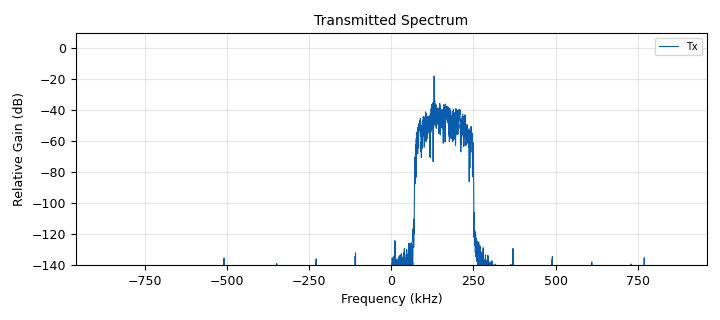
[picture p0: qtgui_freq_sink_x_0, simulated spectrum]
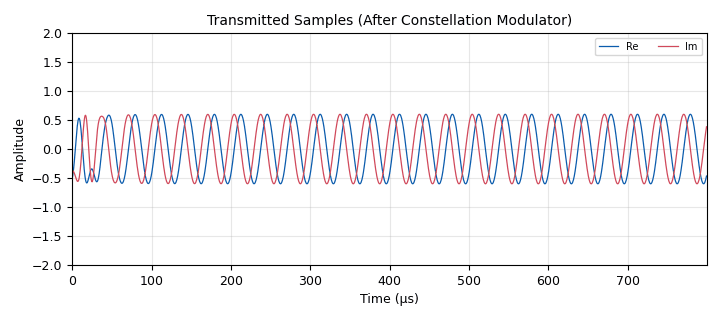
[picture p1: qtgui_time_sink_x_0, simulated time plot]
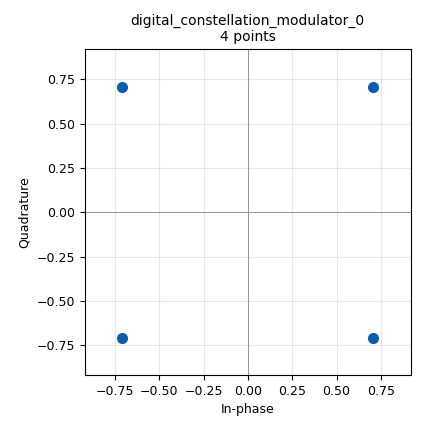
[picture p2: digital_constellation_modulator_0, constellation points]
options:
  parameters:
    generate_options: qt_gui
    id: console_message_transmitter_jupiter
    output_language: python
    title: console_message_transmitter_jupiter
  states: {}

blocks:
- name: alpha
  id: variable
  parameters:
    comment: |-
      Can't change alpha in real time
      for Consteallation Modulator
    value: '0.50'
  states: {}
- name: buff_size
  id: variable
  parameters:
    value: int(32768)
  states: {}
- name: center_freq
  id: variable
  parameters:
    value: '3200000000'
  states: {}
- name: constellation
  id: variable_constellation
  parameters:
    const_points: '[-1-1j, -1+1j, 1+1j, 1-1j]'
    dims: '1'
    normalization: digital.constellation.AMPLITUDE_NORMALIZATION
    precision: '8'
    rot_sym: '4'
    sym_map: '[0, 1, 2, 3]'
    type: calcdist
  states: {}
- name: gain_control_mode_rx0
  id: variable
  parameters:
    value: '''spi'''
  states: {state: disabled}
- name: hardwaregain_rx0
  id: variable_qtgui_range
  parameters:
    gui_hint: (5,1,1,1)
    label: Rx Gain [dBfs]
    outputmsgname: value
    showports: 'False'
    start: '0'
    step: '1'
    stop: '34'
    value: '20'
  states: {state: disabled}
- name: hardwaregain_tx0
  id: variable_qtgui_range
  parameters:
    gui_hint: (5,0,1,1)
    label: Tx Attenuation [dBfs]
    outputmsgname: value
    showports: 'False'
    start: '-41'
    step: '1'
    stop: '0'
    value: '0'
  states: {}
- name: interval_update
  id: variable
  parameters:
    value: int(0)
  states: {}
- name: jupiter_ip
  id: variable_config
  parameters:
    config_file: default
    option: key
    section: main
    type: string
    value: ip:jupiter.local
    writeback: None
  states: {}
- name: message_sent
  id: variable
  parameters:
    value: str("ANALOG DEVICES INC FTC2024")
  states: {}
- name: msg_rx
  id: variable_qtgui_entry
  parameters:
    gui_hint: 0,0
    type: raw
    value: '0'
  states: {state: disabled}
- name: nfilts
  id: variable
  parameters:
    value: '32'
  states: {state: disabled}
- name: offset_rx
  id: variable
  parameters:
    value: '-150000'
  states: {state: disabled}
- name: offset_tx
  id: variable
  parameters:
    value: int(160000)
  states: {}
- name: rcc_taps
  id: variable_rrc_filter_taps
  parameters:
    alpha: alpha
    gain: nfilts
    ntaps: 11*sps*nfilts
    samp_rate: nfilts*samp_rate
    sym_rate: samp_rate/sps
  states: {state: disabled}
- name: rx_lo_freq
  id: variable
  parameters:
    value: int(center_freq)
  states: {state: disabled}
- name: samp_rate
  id: variable
  parameters:
    value: '1920000'
  states: {}
- name: sps
  id: variable
  parameters:
    value: '16'
  states: {}
- name: tx_lo_freq
  id: variable
  parameters:
    value: int(center_freq)
  states: {}
- name: analog_agc_xx_0
  id: analog_agc_xx
  parameters:
    gain: '1.0'
    max_gain: '65536'
    rate: '1e-4'
    reference: '1.0'
    type: complex
  states: {state: disabled}
- name: analog_sig_source_x_0_0
  id: analog_sig_source_x
  parameters:
    amp: '1'
    freq: offset_tx
    offset: '0'
    phase: '0'
    samp_rate: samp_rate
    type: complex
    waveform: analog.GR_COS_WAVE
  states: {}
- name: analog_sig_source_x_0_0_0
  id: analog_sig_source_x
  parameters:
    amp: '1'
    freq: offset_rx
    offset: '0'
    phase: '0'
    samp_rate: samp_rate
    type: complex
    waveform: analog.GR_COS_WAVE
  states: {state: disabled}
- name: blocks_complex_to_imag_0_4_0
  id: blocks_complex_to_imag
  parameters: {}
  states: {}
- name: blocks_complex_to_real_0_4_0
  id: blocks_complex_to_real
  parameters: {}
  states: {}
- name: blocks_float_to_complex_0
  id: blocks_float_to_complex
  parameters: {}
  states: {state: disabled}
- name: blocks_float_to_short_0_0_4_0
  id: blocks_float_to_short
  parameters:
    scale: '32768'
  states: {}
- name: blocks_float_to_short_0_5_0
  id: blocks_float_to_short
  parameters:
    scale: '32768'
  states: {}
- name: blocks_message_strobe_0_0
  id: blocks_message_strobe
  parameters:
    msg: pmt.cons(pmt.PMT_NIL, pmt.init_u8vector(len(message_sent), list(message_sent.encode())))
    period: '1'
  states: {}
- name: blocks_msgpair_to_var_0
  id: blocks_msgpair_to_var
  parameters:
    alias: msg_var
    target: msg_rx
  states: {state: disabled}
- name: blocks_multiply_const_vxx_0
  id: blocks_multiply_const_vxx
  parameters:
    const: '0.6'
    type: complex
  states: {}
- name: blocks_multiply_xx_0_0
  id: blocks_multiply_xx
  parameters:
    type: complex
  states: {}
- name: blocks_multiply_xx_0_0_0
  id: blocks_multiply_xx
  parameters:
    type: complex
  states: {state: disabled}
- name: blocks_null_sink_0
  id: blocks_null_sink
  parameters:
    type: float
  states: {state: disabled}
- name: blocks_null_sink_0_0
  id: blocks_null_sink
  parameters:
    type: float
  states: {state: disabled}
- name: blocks_null_sink_0_0_0
  id: blocks_null_sink
  parameters:
    type: float
  states: {state: disabled}
- name: blocks_repack_bits_bb_1
  id: blocks_repack_bits_bb
  parameters:
    endianness: gr.GR_MSB_FIRST
    k: '1'
    l: '8'
    len_tag_key: '"packet_len"'
  states: {state: disabled}
- name: blocks_short_to_float_0
  id: blocks_short_to_float
  parameters:
    scale: '32768'
  states: {state: disabled}
- name: blocks_short_to_float_0_1
  id: blocks_short_to_float
  parameters:
    scale: '32768'
  states: {state: disabled}
- name: blocks_skiphead_0
  id: blocks_skiphead
  parameters:
    comment: |-
      Skip one second of samples
      to allow AGC and FLL to lock
    num_items: int(samp_rate)
    type: complex
  states: {state: disabled}
- name: blocks_unpack_k_bits_bb_0
  id: blocks_unpack_k_bits_bb
  parameters:
    k: constellation.bits_per_symbol()
  states: {state: disabled}
- name: digital_constellation_modulator_0
  id: digital_constellation_modulator
  parameters:
    constellation: constellation
    differential: 'True'
    excess_bw: alpha
    samples_per_symbol: sps
  states: {}
- name: digital_constellation_receiver_cb_0
  id: digital_constellation_receiver_cb
  parameters:
    comment: |-
      Input comes from Symbol Sync
      Includes a Costas Loop to do phase sync
    constellation: constellation
    fmax: math.pi
    fmin: '-math.pi'
    loop_bw: 2*math.pi/100
  states: {state: disabled}
- name: digital_correlate_access_code_xx_ts_0
  id: digital_correlate_access_code_xx_ts
  parameters:
    access_code: '"11100001010110101110100010010011"'
    tagname: packet_len
    threshold: '1'
    type: byte
  states: {state: disabled}
- name: digital_crc32_async_bb_0_0
  id: digital_crc32_async_bb
  parameters:
    check: 'True'
  states: {state: disabled}
- name: digital_crc32_async_bb_1
  id: digital_crc32_async_bb
  parameters:
    check: 'False'
  states: {}
- name: digital_diff_decoder_bb_0
  id: digital_diff_decoder_bb
  parameters:
    coding: digital.DIFF_DIFFERENTIAL
    modulus: constellation.arity()
  states: {state: disabled}
- name: digital_fll_band_edge_cc_0
  id: digital_fll_band_edge_cc
  parameters:
    filter_size: sps*2+1
    rolloff: alpha
    samps_per_sym: sps
    type: cc
    w: 2*math.pi/sps/100/sps
  states: {state: disabled}
- name: digital_symbol_sync_xx_0
  id: digital_symbol_sync_xx
  parameters:
    constellation: constellation
    damping: '1.0'
    loop_bw: '0.045'
    max_dev: '.1'
    nfilters: nfilts
    osps: '1'
    pfb_mf_taps: rcc_taps
    resamp_type: digital.IR_PFB_MF
    sps: sps
    ted_gain: '1.0'
    ted_type: digital.TED_SIGNAL_TIMES_SLOPE_ML
    type: cc
  states: {state: disabled}
- name: epy_block_0
  id: epy_block
  parameters:
    _source_code: "\"\"\"\nEmbedded Python Block\n\"\"\"\n\nimport numpy as np\nfrom gnuradio import gr\nimport pmt\n\nclass blk(gr.sync_block):\n    \"\"\"Packet Format\"\"\"\n\n    def __init__(self):\n        gr.sync_block.__init__(self,\n            name = \"Packet Format\",\n            in_sig = None,\n            out_sig = None)\n        self.message_port_register_in(pmt.intern('PDU_in'))                \t\t\t\t\n        self.message_port_register_in(pmt.intern('msg_count'))\n        self.message_port_register_out(pmt.intern('PDU_out'))\n        self.message_port_register_out(pmt.intern('msg_count'))\n        self.set_msg_handler(pmt.intern('PDU_in'), self.handle_msg)\n        self.set_msg_handler(pmt.intern('msg_count'), self.handle_msg_count)\n        self.message_counter=0\n        \n    def get_messageCounter(self):\n        return self.message_counter\n\n    def handle_msg_count(self, msg):\n        self.message_counter=pmt.to_python(msg)[1]\n\n    def handle_msg(self, msg):\n        inMsg = pmt.to_python (msg)\n        pld = inMsg[1]\n        # print (pld)\n        mLen = len(pld)\n        # print (mLen)\n        if (mLen > 0) and (self.message_counter <= 10):\n            char_list = [85,85,85,85,85,85,85,85,85,85,85,85,85,85,85,85,85,85,85,85,85,85,85,85,85,85,85,85,85,85,85,85,225,90,232,147]\n            char_list.append (mLen >> 8)\n            char_list.append (mLen & 255)\n            char_list.append (mLen >> 8)\n            char_list.append (mLen & 255)\n            char_list.extend (pld)\n            # print (char_list)\n            out_len = len(char_list)\n            # print (out_len)\n            self.message_port_pub(pmt.intern('PDU_out'), pmt.cons(pmt.PMT_NIL,pmt.init_u8vector(out_len,(char_list))))\n            self.message_counter+=1\n            self.message_port_pub(pmt.intern('msg_count'), pmt.cons(pmt.PMT_NIL,pmt.from_long(self.message_counter)))\n\n    def work(self, input_items, output_items):\n        #self.message_counter-=1\n        #self.message_port_pub(pmt.intern('msg_count'), pmt.cons(pmt.PMT_NIL,pmt.from_long(self.message_counter)))\n        #output_items[0][:] = input_items[0]\n        return 1#len(output_items[0])\n            \n            \n"
  states: {}
- name: epy_block_0_0
  id: epy_block
  parameters:
    _source_code: "\"\"\"\nEmbedded Python Blocks:\n\nEach time this file is saved, GRC will instantiate the first class it finds\nto get ports and parameters of your block. The arguments to __init__  will\nbe the parameters. All of them are required to have default values!\n\"\"\"\n\nimport numpy as np\nfrom gnuradio import gr\n\ndataBuf = []\n\nclass blk(gr.sync_block):  # other base classes are basic_block, decim_block, interp_block\n    def __init__(self):  # only default arguments here\n        \"\"\"arguments to this function show up as parameters in GRC\"\"\"\n        gr.sync_block.__init__(\n            self,\n            name='ASCII Conversion Python Block',   # will show up in GRC\n            in_sig=None,\n            out_sig=None\n        )\n        self.message_port_register_in(gr.pmt.intern('msg_in'))\n        self.message_port_register_out(gr.pmt.intern('clear_input'))\n        self.set_msg_handler(gr.pmt.intern('msg_in'), self.handle_msg)\n    \n    def handle_msg(self, msg):\n        global dataBuf\n        dataBuf = gr.pmt.to_python(gr.pmt.cdr(msg)) # this one returns a python list\n        proc=[str(chr(x)) for x in dataBuf]\n        final_msg = \"\".join(proc)\n        self.message_port_pub(gr.pmt.intern('clear_input'), gr.pmt.cons(gr.pmt.PMT_NIL, gr.pmt.to_pmt(final_msg)))\n\n"
  states: {state: disabled}
- name: epy_block_2
  id: epy_block
  parameters:
    _source_code: |
      """
      Embedded Python Blocks:

      Each time this file is saved, GRC will instantiate the first class it finds
      to get ports and parameters of your block. The arguments to __init__  will
      be the parameters. All of them are required to have default values!
      """

      import numpy as np
      from gnuradio import gr
      import pmt

      class blk(gr.sync_block):  # other base classes are basic_block, decim_block, interp_block
          """Embedded Python Block example - a simple multiply const"""

          def __init__(self):  # only default arguments here
              """arguments to this function show up as parameters in GRC"""
              gr.sync_block.__init__(
                  self,
                  name='Message Counter Decrease',   # will show up in GRC
                  in_sig=[np.complex64],
                  out_sig=[np.complex64]
              )
              # if an attribute with the same name as a parameter is found,
              # a callback is registered (properties work, too).
              self.message_port_register_in(pmt.intern('msg_count_in'))
              self.message_port_register_out(pmt.intern('msg_count'))
              self.set_msg_handler(pmt.intern('msg_count_in'), self.handle_msg)
              self.message_counter=0
              

          def handle_msg(self, msg):
              self.message_counter = pmt.to_python(msg)[1]


          def work(self, input_items, output_items):
              tags = self.get_tags_in_window(0, 0, len(input_items[0]),pmt.intern('packet_len'))
              #print(len(tags))
              if(len(tags)):            
                  if(self.message_counter > len(tags)):
                      self.message_counter-=len(tags)
                  else:
                      self.message_counter=0
                  self.message_port_pub(pmt.intern('msg_count'), pmt.cons(pmt.PMT_NIL,pmt.from_long(self.message_counter)))
                  #print(self.message_counter)
              output_items[0][:] = input_items[0]
              return len(output_items[0])
  states: {}
- name: iio_attr_sink_0
  id: iio_attr_sink
  parameters:
    attr_type: '0'
    channel: voltage0
    device: adrv9002-phy
    output: 'False'
    uri: jupiter_ip
  states: {state: disabled}
- name: iio_attr_sink_0_0
  id: iio_attr_sink
  parameters:
    attr_type: '0'
    channel: voltage1
    device: adrv9002-phy
    output: 'False'
    uri: jupiter_ip
  states: {state: disabled}
- name: iio_attr_sink_0_0_0
  id: iio_attr_sink
  parameters:
    attr_type: '0'
    channel: voltage1
    device: adrv9002-phy
    output: 'True'
    uri: jupiter_ip
  states: {state: disabled}
- name: iio_attr_sink_0_1
  id: iio_attr_sink
  parameters:
    attr_type: '0'
    channel: voltage0
    device: adrv9002-phy
    output: 'True'
    uri: jupiter_ip
  states: {}
- name: iio_attr_sink_0_1_0
  id: iio_attr_sink
  parameters:
    attr_type: '0'
    channel: altvoltage0
    device: adrv9002-phy
    output: 'True'
    uri: jupiter_ip
  states: {state: disabled}
- name: iio_attr_sink_0_1_0_0_0
  id: iio_attr_sink
  parameters:
    attr_type: '0'
    channel: altvoltage2
    device: adrv9002-phy
    output: 'True'
    uri: jupiter_ip
  states: {}
- name: iio_attr_sink_0_1_0_1
  id: iio_attr_sink
  parameters:
    attr_type: '0'
    channel: voltage0
    device: adrv9002-phy
    output: 'False'
    uri: jupiter_ip
  states: {state: disabled}
- name: iio_attr_updater_0
  id: iio_attr_updater
  parameters:
    attr: hardwaregain
    interval: interval_update
    value: str(hardwaregain_rx0)
  states: {state: disabled}
- name: iio_attr_updater_0_0
  id: iio_attr_updater
  parameters:
    attr: hardwaregain
    interval: interval_update
    value: str(0)
  states: {state: disabled}
- name: iio_attr_updater_0_0_0
  id: iio_attr_updater
  parameters:
    attr: hardwaregain
    interval: interval_update
    value: str(-40)
  states: {state: disabled}
- name: iio_attr_updater_0_1
  id: iio_attr_updater
  parameters:
    attr: hardwaregain
    interval: interval_update
    value: str(hardwaregain_tx0)
  states: {}
- name: iio_attr_updater_0_1_0
  id: iio_attr_updater
  parameters:
    attr: frequency
    interval: interval_update
    value: str(rx_lo_freq)
  states: {state: disabled}
- name: iio_attr_updater_0_1_0_0_0
  id: iio_attr_updater
  parameters:
    attr: frequency
    interval: interval_update
    value: str(tx_lo_freq)
  states: {}
- name: iio_attr_updater_0_1_0_1
  id: iio_attr_updater
  parameters:
    attr: gain_control_mode
    interval: interval_update
    value: gain_control_mode_rx0
  states: {state: disabled}
- name: iio_device_sink_0_1
  id: iio_device_sink
  parameters:
    buffer_size: buff_size
    channels: '[''voltage0'',''voltage1'']'
    cyclic: 'False'
    device: axi-adrv9002-tx-lpc
    device_phy: adrv9002-phy
    interpolation: '1'
    params: '[]'
    uri: jupiter_ip
  states: {}
- name: iio_device_source_0
  id: iio_device_source
  parameters:
    buffer_size: buff_size
    channels: '[''voltage0_i'',''voltage0_q'']'
    decimation: '1'
    device: axi-adrv9002-rx-lpc
    device_phy: adrv9002-phy
    params: '[]'
    uri: jupiter_ip
  states: {state: disabled}
- name: import_0
  id: import
  parameters:
    imports: import math
  states: {}
- name: pdu_pdu_to_tagged_stream_0
  id: pdu_pdu_to_tagged_stream
  parameters:
    tag: packet_len
    type: byte
  states: {}
- name: pdu_tagged_stream_to_pdu_0
  id: pdu_tagged_stream_to_pdu
  parameters:
    tag: packet_len
    type: byte
  states: {state: disabled}
- name: qtgui_const_sink_x_0_0
  id: qtgui_const_sink_x
  parameters:
    autoscale: 'True'
    grid: 'True'
    gui_hint: (3,0,1,1)
    label1: '''Rx Before \nCostas Loop'''
    label2: '''Rx After \nCostas Loop'''
    name: Received Constellation
    nconnections: '2'
    size: int(1024)
    tr_level: '5'
    tr_mode: qtgui.TRIG_MODE_NORM
    type: complex
  states: {state: disabled}
- name: qtgui_eye_sink_x_0_0
  id: qtgui_eye_sink_x
  parameters:
    grid: 'True'
    gui_hint: (3,1,1,1)
    label1: Rx Re (After Costas Loop)
    label2: Rx Im (After Costas Loop)
    samp_per_symbol: '1'
    size: '100'
    srate: samp_rate
    tr_level: '5'
    tr_mode: qtgui.TRIG_MODE_NORM
    type: complex
    ymax: '8'
    ymin: '-8'
  states: {state: disabled}
- name: qtgui_freq_sink_x_0
  id: qtgui_freq_sink_x
  parameters:
    bw: samp_rate
    fc: '0'
    fftsize: '8192'
    grid: 'True'
    gui_hint: (2,0,1,1)
    label1: Tx
    name: Transmitted Spectrum
    tr_level: '-40'
    tr_mode: qtgui.TRIG_MODE_NORM
    type: complex
    update_time: '1'
  states: {}
- name: qtgui_freq_sink_x_0_0_0
  id: qtgui_freq_sink_x
  parameters:
    bw: samp_rate
    fc: '0'
    fftsize: '8192'
    grid: 'True'
    gui_hint: (2,1,1,1)
    label1: Rx
    label2: '''Rx \n+ \nFreq Offset'''
    label3: '''Rx \n+ \nFreq \nOffset \n+ \nFLL'''
    name: '"Received spectrum"'
    nconnections: '3'
    tr_level: '-60'
    tr_mode: qtgui.TRIG_MODE_NORM
    type: complex
    update_time: '0.5'
  states: {state: disabled}
- name: qtgui_time_sink_x_0
  id: qtgui_time_sink_x
  parameters:
    grid: 'True'
    gui_hint: (1,0,1,1)
    label1: Re
    label2: Im
    name: Transmitted Samples (After Constellation Modulator)
    size: 96*16
    srate: samp_rate
    tr_level: '0.5'
    type: complex
    ymax: '2'
    ymin: '-2'
  states: {}
- name: qtgui_time_sink_x_1_0
  id: qtgui_time_sink_x
  parameters:
    grid: 'True'
    gui_hint: (1,1,1,1)
    label1: Re
    label2: Im
    name: '"Received Samples (After Costas Loop)"'
    size: '96'
    srate: samp_rate
    tr_level: '0.8'
    tr_mode: qtgui.TRIG_MODE_NORM
    type: complex
    ymax: '10'
    ymin: '-10'
  states: {state: disabled}

connections:
- [analog_agc_xx_0, '0', digital_fll_band_edge_cc_0, '0']
- [analog_agc_xx_0, '0', qtgui_freq_sink_x_0_0_0, '1']
- [analog_sig_source_x_0_0, '0', blocks_multiply_xx_0_0, '1']
- [analog_sig_source_x_0_0_0, '0', blocks_multiply_xx_0_0_0, '1']
- [blocks_complex_to_imag_0_4_0, '0', blocks_float_to_short_0_0_4_0, '0']
- [blocks_complex_to_real_0_4_0, '0', blocks_float_to_short_0_5_0, '0']
- [blocks_float_to_complex_0, '0', blocks_multiply_xx_0_0_0, '0']
- [blocks_float_to_complex_0, '0', qtgui_freq_sink_x_0_0_0, '0']
- [blocks_float_to_short_0_0_4_0, '0', iio_device_sink_0_1, '1']
- [blocks_float_to_short_0_5_0, '0', iio_device_sink_0_1, '0']
- [blocks_message_strobe_0_0, strobe, digital_crc32_async_bb_1, in]
- [blocks_multiply_const_vxx_0, '0', epy_block_2, '0']
- [blocks_multiply_xx_0_0, '0', blocks_complex_to_imag_0_4_0, '0']
- [blocks_multiply_xx_0_0, '0', blocks_complex_to_real_0_4_0, '0']
- [blocks_multiply_xx_0_0, '0', qtgui_freq_sink_x_0, '0']
- [blocks_multiply_xx_0_0_0, '0', analog_agc_xx_0, '0']
- [blocks_repack_bits_bb_1, '0', pdu_tagged_stream_to_pdu_0, '0']
- [blocks_short_to_float_0, '0', blocks_float_to_complex_0, '0']
- [blocks_short_to_float_0_1, '0', blocks_float_to_complex_0, '1']
- [blocks_skiphead_0, '0', digital_symbol_sync_xx_0, '0']
- [blocks_unpack_k_bits_bb_0, '0', digital_correlate_access_code_xx_ts_0, '0']
- [digital_constellation_modulator_0, '0', blocks_multiply_const_vxx_0, '0']
- [digital_constellation_receiver_cb_0, '0', digital_diff_decoder_bb_0, '0']
- [digital_constellation_receiver_cb_0, '1', blocks_null_sink_0_0_0, '0']
- [digital_constellation_receiver_cb_0, '2', blocks_null_sink_0_0, '0']
- [digital_constellation_receiver_cb_0, '3', blocks_null_sink_0, '0']
- [digital_constellation_receiver_cb_0, '4', qtgui_const_sink_x_0_0, '1']
- [digital_constellation_receiver_cb_0, '4', qtgui_eye_sink_x_0_0, '0']
- [digital_constellation_receiver_cb_0, '4', qtgui_time_sink_x_1_0, '0']
- [digital_correlate_access_code_xx_ts_0, '0', blocks_repack_bits_bb_1, '0']
- [digital_crc32_async_bb_0_0, out, epy_block_0_0, msg_in]
- [digital_crc32_async_bb_1, out, epy_block_0, PDU_in]
- [digital_diff_decoder_bb_0, '0', blocks_unpack_k_bits_bb_0, '0']
- [digital_fll_band_edge_cc_0, '0', blocks_skiphead_0, '0']
- [digital_fll_band_edge_cc_0, '0', qtgui_freq_sink_x_0_0_0, '2']
- [digital_symbol_sync_xx_0, '0', digital_constellation_receiver_cb_0, '0']
- [digital_symbol_sync_xx_0, '0', qtgui_const_sink_x_0_0, '0']
- [epy_block_0, PDU_out, pdu_pdu_to_tagged_stream_0, pdus]
- [epy_block_0, msg_count, epy_block_2, msg_count_in]
- [epy_block_0_0, clear_input, blocks_msgpair_to_var_0, inpair]
- [epy_block_2, '0', blocks_multiply_xx_0_0, '0']
- [epy_block_2, '0', qtgui_time_sink_x_0, '0']
- [epy_block_2, msg_count, epy_block_0, msg_count]
- [iio_attr_updater_0, out, iio_attr_sink_0, attr]
- [iio_attr_updater_0_0, out, iio_attr_sink_0_0, attr]
- [iio_attr_updater_0_0_0, out, iio_attr_sink_0_0_0, attr]
- [iio_attr_updater_0_1, out, iio_attr_sink_0_1, attr]
- [iio_attr_updater_0_1_0, out, iio_attr_sink_0_1_0, attr]
- [iio_attr_updater_0_1_0_0_0, out, iio_attr_sink_0_1_0_0_0, attr]
- [iio_attr_updater_0_1_0_1, out, iio_attr_sink_0_1_0_1, attr]
- [iio_device_source_0, '0', blocks_short_to_float_0, '0']
- [iio_device_source_0, '1', blocks_short_to_float_0_1, '0']
- [pdu_pdu_to_tagged_stream_0, '0', digital_constellation_modulator_0, '0']
- [pdu_tagged_stream_to_pdu_0, pdus, digital_crc32_async_bb_0_0, in]

metadata:
  file_format: 1
  grc_version: 3.10.4.0
